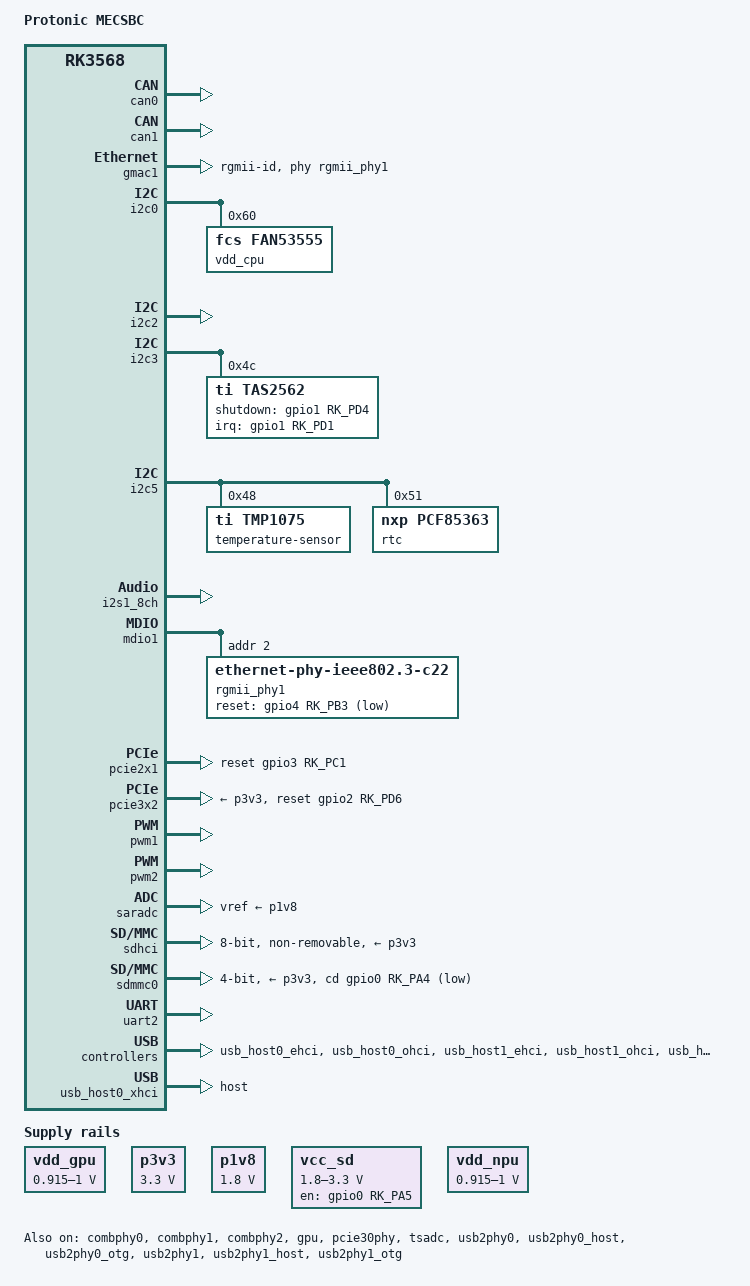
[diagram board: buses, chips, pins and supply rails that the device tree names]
// SPDX-License-Identifier: (GPL-2.0+ OR MIT)

/dts-v1/;
#include <dt-bindings/gpio/gpio.h>
#include <dt-bindings/leds/common.h>
#include <dt-bindings/pinctrl/rockchip.h>
#include <dt-bindings/pwm/pwm.h>
#include "rk3568.dtsi"

/ {
	model = "Protonic MECSBC";
	compatible = "prt,mecsbc", "rockchip,rk3568";

	aliases {
		mmc0 = &sdhci;
		mmc1 = &sdmmc0;
	};

	chosen: chosen {
		stdout-path = "serial2:1500000n8";
	};

	tas2562-sound {
		compatible = "simple-audio-card";
		simple-audio-card,format = "i2s";
		simple-audio-card,name = "Speaker";
		simple-audio-card,mclk-fs = <256>;

		simple-audio-card,cpu {
			sound-dai = <&i2s1_8ch>;
		};

		simple-audio-card,codec {
			sound-dai = <&tas2562>;
		};
	};

	vdd_gpu: regulator-vdd-gpu {
		compatible = "pwm-regulator";
		pwms = <&pwm1 0 5000 PWM_POLARITY_INVERTED>;
		regulator-name = "vdd_gpu";
		regulator-min-microvolt = <915000>;
		regulator-max-microvolt = <1000000>;
		regulator-always-on;
		regulator-boot-on;
		regulator-settling-time-up-us = <250>;
		pwm-dutycycle-range = <0 100>; /* dutycycle inverted 0% => 0.915V */
	};

	p3v3: regulator-p3v3 {
		compatible = "regulator-fixed";
		regulator-name = "p3v3";
		regulator-always-on;
		regulator-boot-on;
		regulator-min-microvolt = <3300000>;
		regulator-max-microvolt = <3300000>;
	};

	p1v8: regulator-p1v8 {
		compatible = "regulator-fixed";
		regulator-name = "p1v8";
		regulator-always-on;
		regulator-boot-on;
		regulator-min-microvolt = <1800000>;
		regulator-max-microvolt = <1800000>;
	};

	vcc_sd: regulator-sd {
		compatible = "regulator-gpio";
		enable-gpios = <&gpio0 RK_PA5 GPIO_ACTIVE_HIGH>;
		enable-active-high;
		gpios = <&gpio0 RK_PA6 GPIO_ACTIVE_HIGH>;
		regulator-name = "sdcard-gpio-supply";
		regulator-min-microvolt = <1800000>;
		regulator-max-microvolt = <3300000>;
		states = <1800000 0x1>, <3300000 0x0>;
	};

	vdd_npu: regulator-vdd-npu {
		compatible = "pwm-regulator";
		pwms = <&pwm2 0 5000 PWM_POLARITY_INVERTED>;
		regulator-name = "vdd_npu";
		regulator-min-microvolt = <915000>;
		regulator-max-microvolt = <1000000>;
		regulator-always-on;
		regulator-boot-on;
		regulator-settling-time-up-us = <250>;
		pwm-dutycycle-range = <0 100>; /* dutycycle inverted 0% => 0.915V */
	};
};

&can0 {
	compatible = "rockchip,rk3568v3-canfd", "rockchip,rk3568v2-canfd";
	pinctrl-names = "default";
	pinctrl-0 = <&can0m0_pins>;
	status = "okay";
};

&can1 {
	compatible = "rockchip,rk3568v3-canfd", "rockchip,rk3568v2-canfd";
	pinctrl-names = "default";
	pinctrl-0 = <&can1m1_pins>;
	status = "okay";
};

&combphy0 {
	status = "okay";
};

&combphy1 {
	status = "okay";
};

&combphy2 {
	status = "okay";
};

&cpu0 {
	cpu-supply = <&vdd_cpu>;
};

&cpu1 {
	cpu-supply = <&vdd_cpu>;
};

&cpu2 {
	cpu-supply = <&vdd_cpu>;
};

&cpu3 {
	cpu-supply = <&vdd_cpu>;
};

&gmac1 {
	assigned-clocks = <&cru SCLK_GMAC1_RX_TX>, <&cru SCLK_GMAC1>;
	assigned-clock-parents = <&cru SCLK_GMAC1_RGMII_SPEED>, <&cru CLK_MAC1_2TOP>;
	phy-handle = <&rgmii_phy1>;
	phy-mode = "rgmii-id";
	clock_in_out = "output";
	pinctrl-names = "default";
	pinctrl-0 = <&gmac1m1_miim
		     &gmac1m1_tx_bus2
		     &gmac1m1_rx_bus2
		     &gmac1m1_rgmii_clk
		     &gmac1m1_clkinout
		     &gmac1m1_rgmii_bus>;
	status = "okay";
};

&gpu {
	mali-supply = <&vdd_gpu>;
	status = "okay";
};

&gpu_opp_table {
	compatible = "operating-points-v2";

	opp-200000000 {
		opp-hz = /bits/ 64 <200000000>;
		opp-microvolt = <915000>;
	};

	opp-300000000 {
		opp-hz = /bits/ 64 <300000000>;
		opp-microvolt = <915000>;
	};

	opp-400000000 {
		opp-hz = /bits/ 64 <400000000>;
		opp-microvolt = <915000>;
	};

	opp-600000000 {
		opp-hz = /bits/ 64 <600000000>;
		opp-microvolt = <920000>;
	};

	opp-700000000 {
		opp-hz = /bits/ 64 <700000000>;
		opp-microvolt = <950000>;
	};

	opp-800000000 {
		opp-hz = /bits/ 64 <800000000>;
		opp-microvolt = <1000000>;
	};
};

&i2c0 {
	status = "okay";

	vdd_cpu: regulator@60 {
		compatible = "fcs,fan53555";
		reg = <0x60>;
		fcs,suspend-voltage-selector = <1>;
		regulator-name = "vdd_cpu";
		regulator-always-on;
		regulator-boot-on;
		regulator-min-microvolt = <800000>;
		regulator-max-microvolt = <1150000>;
		regulator-ramp-delay = <2300>;

		regulator-state-mem {
			regulator-off-in-suspend;
		};
	};
};

&i2c2 {
	status = "okay";
	pinctrl-names = "default";
	pinctrl-0 = <&i2c2m0_xfer>;
};

&i2c3 {
	pinctrl-names = "default";
	pinctrl-0 = <&i2c3m0_xfer>;
	status = "okay";

	tas2562: amplifier@4c {
		compatible = "ti,tas2562";
		reg = <0x4c>;
		#sound-dai-cells = <0>;
		shutdown-gpios = <&gpio1 RK_PD4 GPIO_ACTIVE_HIGH>;
		interrupt-parent = <&gpio1>;
		pinctrl-names = "default";
		pinctrl-0 = <&pinctrl_tas2562>;
		interrupts = <RK_PD1 IRQ_TYPE_LEVEL_LOW>;
		ti,imon-slot-no = <0>;
	};
};

&i2c5 {
	status = "okay";

	temperature-sensor@48 {
		compatible = "ti,tmp1075";
		reg = <0x48>;
	};

	rtc@51 {
		compatible = "nxp,pcf85363";
		reg = <0x51>;
		#clock-cells = <0>;
		clock-output-names = "rtcic_32kout";
	};
};

&i2s1_8ch {
	pinctrl-names = "default";
	pinctrl-0 = <&i2s1m0_sclktx &i2s1m0_lrcktx &i2s1m0_sdi0 &i2s1m0_sdo0>;
	rockchip,trcm-sync-tx-only;
	status = "okay";
};

&mdio1 {
	rgmii_phy1: ethernet-phy@2 {
		compatible = "ethernet-phy-ieee802.3-c22";
		reg = <0x2>;
		pinctrl-names = "default";
		pinctrl-0 = <&eth_phy1_rst>;
		reset-assert-us = <20000>;
		reset-deassert-us = <100000>;
		reset-gpios = <&gpio4 RK_PB3 GPIO_ACTIVE_LOW>;
	};
};

&pcie2x1 {
	pinctrl-names = "default";
	pinctrl-0 = <&pcie20m1_pins>;
	reset-gpios = <&gpio3 RK_PC1 GPIO_ACTIVE_HIGH>;
	status = "okay";
};

&pcie30phy {
	status = "okay";
};

&pcie3x2 {
	pinctrl-names = "default";
	pinctrl-0 = <&pcie30x2m1_pins>;
	reset-gpios = <&gpio2 RK_PD6 GPIO_ACTIVE_HIGH>;
	vpcie3v3-supply = <&p3v3>;
	status = "okay";
};

&pinctrl {
	ethernet {
		eth_phy1_rst: eth-phy1-rst {
			rockchip,pins = <4 RK_PB3 RK_FUNC_GPIO &pcfg_pull_none>;
		};
	};

	tas2562 {
		pinctrl_tas2562: tas2562 {
			rockchip,pins = <1 RK_PD4 RK_FUNC_GPIO &pcfg_pull_up>;
		};
	};
};

&pmu_io_domains {
	pmuio1-supply = <&p3v3>;
	pmuio2-supply = <&p3v3>;
	vccio1-supply = <&p1v8>;
	vccio2-supply = <&p1v8>;
	vccio3-supply = <&vcc_sd>;
	vccio4-supply = <&p1v8>;
	vccio5-supply = <&p3v3>;
	vccio6-supply = <&p1v8>;
	vccio7-supply = <&p3v3>;
	status = "okay";
};

&pwm1 {
	status = "okay";
	pinctrl-names = "default";
	pinctrl-0 = <&pwm1m0_pins>;
};

&pwm2 {
	status = "okay";
	pinctrl-names = "default";
	pinctrl-0 = <&pwm2m0_pins>;
};

&saradc {
	vref-supply = <&p1v8>;
	status = "okay";
};

&sdhci {
	bus-width = <8>;
	max-frequency = <200000000>;
	non-removable;
	pinctrl-names = "default";
	pinctrl-0 = <&emmc_bus8 &emmc_clk &emmc_cmd &emmc_datastrobe>;
	vmmc-supply = <&p3v3>;
	vqmmc-supply = <&p1v8>;
	mmc-hs200-1_8v;
	non-removable;
	no-sd;
	no-sdio;
	status = "okay";
};

&sdmmc0 {
	bus-width = <4>;
	cap-sd-highspeed;
	cd-gpios = <&gpio0 RK_PA4 GPIO_ACTIVE_LOW>;
	disable-wp;
	pinctrl-names = "default";
	pinctrl-0 = <&sdmmc0_bus4 &sdmmc0_clk &sdmmc0_cmd &sdmmc0_det>;
	sd-uhs-sdr50;
	sd-uhs-sdr104;
	vmmc-supply = <&p3v3>;
	vqmmc-supply = <&vcc_sd>;
	status = "okay";
};

&tsadc {
	rockchip,hw-tshut-mode = <1>;
	rockchip,hw-tshut-polarity = <0>;
	status = "okay";
};

&uart2 {
	status = "okay";
};

&usb_host0_ehci {
	status = "okay";
};

&usb_host0_ohci {
	status = "okay";
};

&usb_host0_xhci {
	dr_mode = "host";
	extcon = <&usb2phy0>;
	status = "okay";
};

&usb_host1_ehci {
	status = "okay";
};

&usb_host1_ohci {
	status = "okay";
};

&usb_host1_xhci {
	status = "okay";
};

&usb2phy0 {
	status = "okay";
};

&usb2phy0_host {
	status = "okay";
};

&usb2phy0_otg {
	status = "okay";
};

&usb2phy1 {
	status = "okay";
};

&usb2phy1_host {
	status = "okay";
};

&usb2phy1_otg {
	status = "okay";
};
